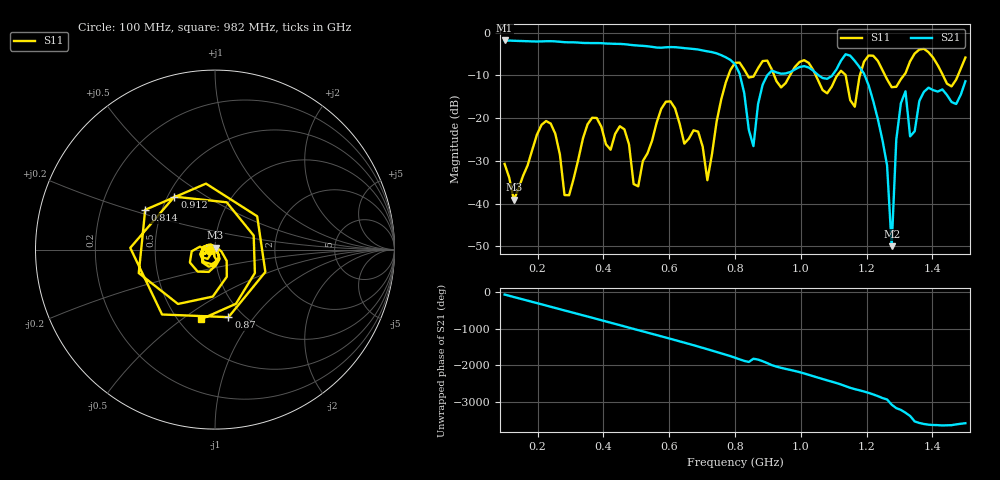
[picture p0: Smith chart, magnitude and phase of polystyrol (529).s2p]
! NanoVNA-App
! Date: 2025-09-25 15:34:00
! Start: 100MHz Stop: 1,5GHz Points: 101
! S-Parameter data: F S11 S21 S12 S22
# Hz S RI R 50
!  Frequency  S11_Real  S11_Imag  S21_Real  S21_Imag  S12_Real  S12_Imag  S22_Real  S22_Imag
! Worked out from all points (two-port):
!   101 points, 100 MHz to 1.5 GHz, reference 50 ohm
!   highest |S21| = -1.80 dB at 100 MHz (marker M1); lowest = -50.0 dB at 1.276 GHz (marker M2)
!   |S21| within 3 dB of the highest: start of sweep to 743.2 MHz
!   lowest |S11| = -39.1 dB at 128 MHz (marker M3), VSWR 1.02, Z = 50.3 + j1.06 ohm
!   |S11| at or under -10 dB: start of sweep to 779.9 MHz; 1.046 GHz to 1.111 GHz (65.29 MHz wide, 6.06 % of centre); 1.256 GHz to 1.313 GHz (56.4 MHz wide, 4.39 % of centre) (the widest 3 of 7)
!   S12 and S22 are empty: the file has one direction only
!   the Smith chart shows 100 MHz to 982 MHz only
!   S11 on the Smith chart (normalised r, x): 100 MHz: 0.94, -0.01; 814 MHz: 0.40, +0.22; 870 MHz: 0.86, -0.76; 912 MHz: 0.54, +0.37; 982 MHz: 0.64, -0.59
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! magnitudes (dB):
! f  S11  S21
! 100 MHz  -30.7  -1.8
! 128 MHz  -39.1  -1.9
! 212 MHz  -21.6  -2.0
! 282 MHz  -38.0  -2.2
! 338 MHz  -24.7  -2.4
! 506 MHz  -35.9  -3.0
! 576 MHz  -17.8  -3.5
! 716 MHz  -34.5  -4.3
! 800 MHz  -7.0  -7.4
! 814 MHz  -7.0  -9.6
! 856 MHz  -10.3  -26.5
! 870 MHz  -8.3  -16.7
! 912 MHz  -8.6  -8.8
! 982 MHz  -8.0  -8.6
! 1.038 GHz  -8.8  -8.9
! 1.192 GHz  -6.8  -9.6
! 1.262 GHz  -10.9  -31.0
! 1.276 GHz  -12.7  -50.0
! 1.29 GHz  -12.7  -25.0
! 1.318 GHz  -9.5  -13.7
! 1.332 GHz  -6.7  -24.3
! 1.5 GHz  -5.8  -11.3
